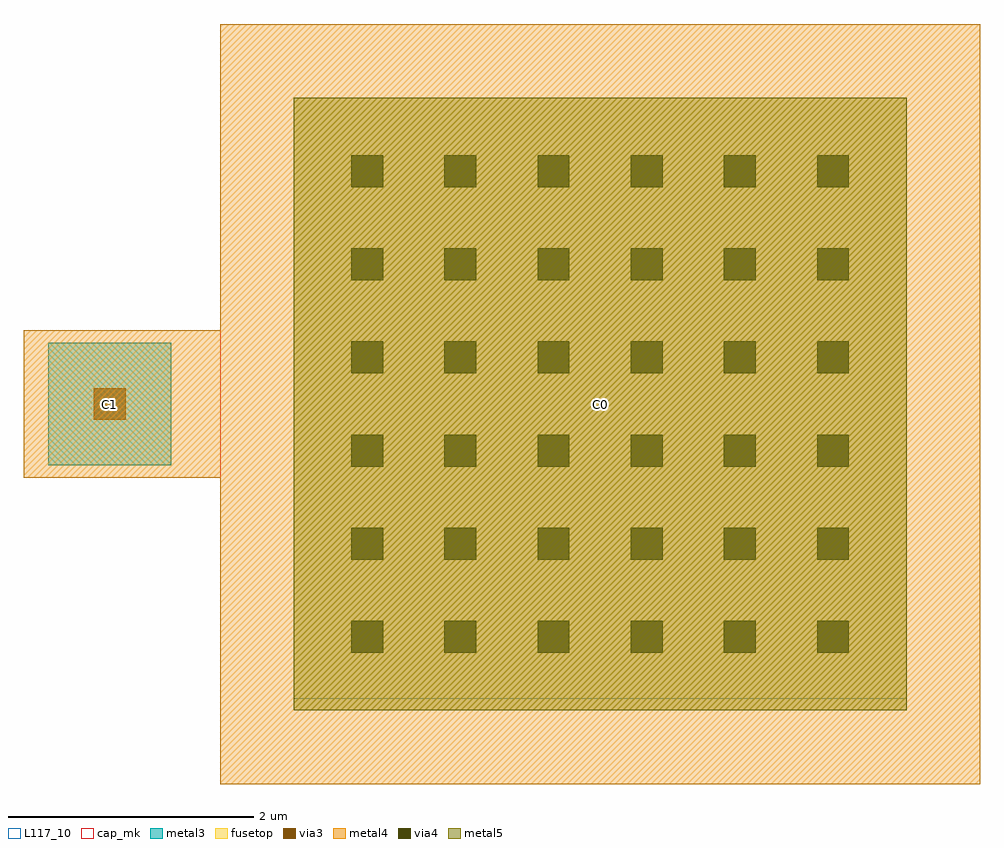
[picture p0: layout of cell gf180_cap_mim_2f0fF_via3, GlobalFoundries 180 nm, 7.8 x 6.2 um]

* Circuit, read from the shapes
.subckt gf180_cap_mim_2f0fF_via3 C0 C1
XC1 C0 C1 cap_mim_2f0fF c_width=5u c_length=5u
.ends

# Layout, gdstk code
import gdstk
lib = gdstk.Library(unit=1e-6, precision=1e-09)
def R(c, l, rs):  # rectangles x0, y0, x1, y1
    for r in rs: c.add(gdstk.rectangle(r[:2], r[2:], *l))
def A(c, l, x, y, w, h, nx, ny, dx, dy):  # array of equal rectangles
    R(c, l, [(x+i*dx, y+j*dy, x+i*dx+w, y+j*dy+h) for i in range(nx) for j in range(ny)])
via3 = (40, 0)
via4 = (41, 0)
metal3 = (42, 0)
metal4 = (46, 0)
fusetop = (75, 0)
metal5 = (81, 0)
cap_mk = (117, 5)
L117_10 = (117, 10)

cap_mim = lib.new_cell('cap_mim')
A(cap_mim, via4, 0.47, 0.47, 0.26, 0.26, 6, 6, 0.76, 0.76)
R(cap_mim, metal4, [(-0.6,-0.6,5.6,5.6)])
R(cap_mim, fusetop, [(0,0,5,5)])
R(cap_mim, metal5, [(0,0,5,5)])
R(cap_mim, cap_mk, [(-0.6,-0.6,5.6,5.6)])
R(cap_mim, L117_10, [(0,0,5,0.1)])

gf180_cap_mim_2f0ff_via3 = lib.new_cell('gf180_cap_mim_2f0fF_via3')
R(gf180_cap_mim_2f0ff_via3, via3, [(-1.63,2.37,-1.37,2.63)])
R(gf180_cap_mim_2f0ff_via3, metal3, [(-2,2,-1,3)])
R(gf180_cap_mim_2f0ff_via3, metal4, [(-2.2,1.9,-0.6,3.1)])
gf180_cap_mim_2f0ff_via3.add(gdstk.Reference(cap_mim, (0,0)))
gf180_cap_mim_2f0ff_via3.add(gdstk.Label('C0', (2.5,2.5), layer=81, texttype=10))
gf180_cap_mim_2f0ff_via3.add(gdstk.Label('C1', (-1.5,2.5), layer=42, texttype=10))

lib.write_gds('gf180_cap_mim_2f0fF_via3.gds')
